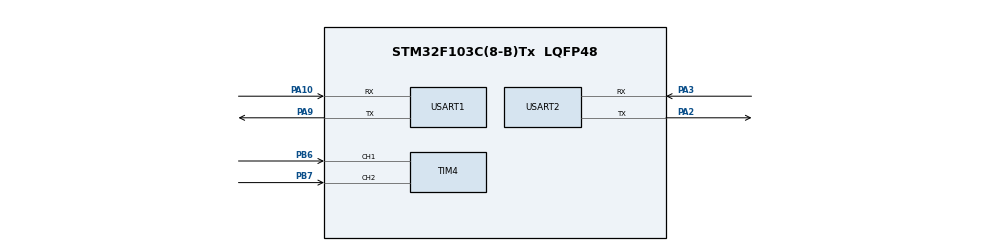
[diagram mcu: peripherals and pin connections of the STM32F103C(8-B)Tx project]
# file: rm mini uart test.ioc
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Mcu.Family=STM32F1
Mcu.Name=STM32F103C(8-B)Tx
Mcu.Package=LQFP48
NVIC.PriorityGroup=NVIC_PRIORITYGROUP_4
NVIC.USART2_IRQn=true\:0\:0\:false\:false\:true\:true\:true\:true
PA10.Mode=Asynchronous
PA10.Signal=USART1_RX
PA13.Mode=Serial_Wire
PA13.Signal=SYS_JTMS-SWDIO
PA14.Mode=Serial_Wire
PA14.Signal=SYS_JTCK-SWCLK
PA2.Mode=Asynchronous
PA2.Signal=USART2_TX
PA3.Mode=Asynchronous
PA3.Signal=USART2_RX
PA9.Mode=Asynchronous
PA9.Signal=USART1_TX
PB6.Signal=S_TIM4_CH1
PB7.Signal=S_TIM4_CH2
ProjectManager.HeapSize=0x200
ProjectManager.StackSize=0x400
ProjectManager.TargetToolchain=MDK-ARM V5.32
RCC.APB1Freq_Value=8000000
RCC.APB2Freq_Value=8000000
SH.S_TIM4_CH1.0=TIM4_CH1,Encoder_Interface
SH.S_TIM4_CH2.0=TIM4_CH2,Encoder_Interface
TIM4.EncoderMode=TIM_ENCODERMODE_TI12
USART1.VirtualMode=VM_ASYNC
USART2.VirtualMode=VM_ASYNC
board=custom

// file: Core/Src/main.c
/* USER CODE BEGIN Header */
/**
  ******************************************************************************
  * @file           : main.c
  * @brief          : Main program body
  ******************************************************************************
  * @attention
  *
  * Copyright (c) 2026 STMicroelectronics.
  * All rights reserved.
  *
  * This software is licensed under terms that can be found in the LICENSE file
  * in the root directory of this software component.
  * If no LICENSE file comes with this software, it is provided AS-IS.
  *
  ******************************************************************************
  */
/* USER CODE END Header */
#include "main.h"

/* USER CODE BEGIN Includes */
#include "stdio.h"
#include <stdlib.h>
#include <string.h>
/* USER CODE END Includes */

/* USER CODE BEGIN PTD */
typedef struct
{
    float Errorintegral;
    float LastError;
    uint8_t hasLastError;
    float OUT;
} WheelPidState;
/* USER CODE END PTD */

TIM_HandleTypeDef htim4;

UART_HandleTypeDef huart1;
UART_HandleTypeDef huart2;

/* USER CODE BEGIN PV */

static volatile uint16_t nowm1EncoderCount = 0U;
static volatile int32_t m1DeltaCount = 0;
static volatile float m1Rpm = 0.0f;
static volatile float TargetRpm = 0.0f;
static volatile float Error = 0.0f;

static volatile float Kp = 1.0f;
static volatile float Ki = 0.7f;
static volatile float Kd = 0.0f;
static volatile float OUT = 0.0f;

static WheelPidState wheel1PIDState = {0};
/* USER CODE END PV */

void SystemClock_Config(void);
static void MX_GPIO_Init(void);
static void MX_USART1_UART_Init(void);
static void MX_USART2_UART_Init(void);
static void MX_TIM4_Init(void);

/* USER CODE BEGIN 0 */
static float WheelPidUpdate(WheelPidState *wheelxPIDState,float TargetRpm, float Error, uint32_t deltaMs)//第一个轮子状态结构体名称，x对应的是驱动板的motor几
{
    if (TargetRpm == 0.0f)
    {
        *wheelxPIDState = (WheelPidState){0};
        return 0.0f;
    }

    if (Ki <= 0.0f)
    {
        wheelxPIDState->Errorintegral = 0.0f;
    }

    else if ((wheelxPIDState->OUT < 200.0f || Error < 0.0f) &&(wheelxPIDState->OUT > -200.0f || Error > 0.0f))//条件积分，初步卡在正负200
    {
        wheelxPIDState->Errorintegral += Error * (deltaMs * 0.001f);
    }

    float Errorchangerate = 0.0f;

    if (wheelxPIDState->hasLastError != 0U)
    {
        Errorchangerate =(Error - wheelxPIDState->LastError) / (deltaMs * 0.001f);
    }

    wheelxPIDState->LastError = Error;
    wheelxPIDState->hasLastError = 1U;

    wheelxPIDState->OUT =Kp * Error + Ki * wheelxPIDState->Errorintegral + Kd * Errorchangerate;

    if (wheelxPIDState->OUT > 200.0f)
    {
        wheelxPIDState->OUT = 200.0f;
    }
    else if (wheelxPIDState->OUT < -200.0f)
    {
        wheelxPIDState->OUT = -200.0f;
    }

    return wheelxPIDState->OUT;
}

/* USER CODE END 0 */

int main(void)
{

  /* MCU Configuration--------------------------------------------------------*/

  /* Reset of all peripherals, Initializes the Flash interface and the Systick. */
  HAL_Init();

  /* Configure the system clock */
  SystemClock_Config();

  /* Initialize all configured peripherals */
  MX_GPIO_Init();
  MX_USART1_UART_Init();
  MX_USART2_UART_Init();
  MX_TIM4_Init();
  /* USER CODE BEGIN 2 */

  const uint8_t motorStopCommand[] = "$pwm:0,0,0,0#";
  HAL_UART_Transmit(&huart2, motorStopCommand, sizeof(motorStopCommand) - 1U, 20U);

  HAL_TIM_Encoder_Start(&htim4,TIM_CHANNEL_ALL);
  uint16_t previousM1Count = (uint16_t)__HAL_TIM_GET_COUNTER(&htim4);
  uint32_t previousSampleMs = HAL_GetTick();
  const float m1CountsPerWheel = 2464.0f;//轮子每圈转动产生cnt

  /* USER CODE END 2 */

  /* Infinite loop */
  /* USER CODE BEGIN WHILE */
  while (1)
  {
	nowm1EncoderCount = (uint16_t)__HAL_TIM_GET_COUNTER(&htim4);
	uint32_t currentSampleMs = HAL_GetTick();

	uint32_t deltaMs = currentSampleMs - previousSampleMs;

	if (deltaMs >= 100U)
	{
		//读cnt以及求转速，误差
		int32_t deltaCount = (uint16_t)(nowm1EncoderCount - previousM1Count);//直接换无符号了，下面-65536，常见处理cnt的突变

		if (deltaCount >= 32768)
		{
			deltaCount -= 65536;
		}
		m1DeltaCount = deltaCount;
		m1Rpm = deltaCount * 60000.0f / (m1CountsPerWheel * deltaMs);
		Error = TargetRpm - m1Rpm;

		//PID
		OUT = WheelPidUpdate(&wheel1PIDState, TargetRpm, Error, deltaMs);

		//发送
		char Outorder[24];
		int Outorderbyte = snprintf(Outorder, sizeof(Outorder),"$pwm:%d,0,0,0#", (int)OUT);

		if (Outorderbyte > 0 && Outorderbyte < (int)sizeof(Outorder))
		{
			HAL_UART_Transmit(&huart2, (const uint8_t *)Outorder,(uint16_t)Outorderbyte, 20U);
		}
		previousM1Count = nowm1EncoderCount;
		previousSampleMs = currentSampleMs;
	}

    /* USER CODE END WHILE */

  }
}

void SystemClock_Config(void)
{
  RCC_OscInitTypeDef RCC_OscInitStruct = {0};
  RCC_ClkInitTypeDef RCC_ClkInitStruct = {0};

  /** Initializes the RCC Oscillators according to the specified parameters
  * in the RCC_OscInitTypeDef structure.
  */
  RCC_OscInitStruct.OscillatorType = RCC_OSCILLATORTYPE_HSI;
  RCC_OscInitStruct.HSIState = RCC_HSI_ON;
  RCC_OscInitStruct.HSICalibrationValue = RCC_HSICALIBRATION_DEFAULT;
  RCC_OscInitStruct.PLL.PLLState = RCC_PLL_NONE;
  if (HAL_RCC_OscConfig(&RCC_OscInitStruct) != HAL_OK)
  {
    Error_Handler();
  }

  /** Initializes the CPU, AHB and APB buses clocks
  */
  RCC_ClkInitStruct.ClockType = RCC_CLOCKTYPE_HCLK|RCC_CLOCKTYPE_SYSCLK
                              |RCC_CLOCKTYPE_PCLK1|RCC_CLOCKTYPE_PCLK2;
  RCC_ClkInitStruct.SYSCLKSource = RCC_SYSCLKSOURCE_HSI;
  RCC_ClkInitStruct.AHBCLKDivider = RCC_SYSCLK_DIV1;
  RCC_ClkInitStruct.APB1CLKDivider = RCC_HCLK_DIV1;
  RCC_ClkInitStruct.APB2CLKDivider = RCC_HCLK_DIV1;

  if (HAL_RCC_ClockConfig(&RCC_ClkInitStruct, FLASH_LATENCY_0) != HAL_OK)
  {
    Error_Handler();
  }
}

static void MX_TIM4_Init(void)
{

  TIM_Encoder_InitTypeDef sConfig = {0};
  TIM_MasterConfigTypeDef sMasterConfig = {0};

  htim4.Instance = TIM4;
  htim4.Init.Prescaler = 0;
  htim4.Init.CounterMode = TIM_COUNTERMODE_UP;
  htim4.Init.Period = 65535;
  htim4.Init.ClockDivision = TIM_CLOCKDIVISION_DIV1;
  htim4.Init.AutoReloadPreload = TIM_AUTORELOAD_PRELOAD_DISABLE;
  sConfig.EncoderMode = TIM_ENCODERMODE_TI12;
  sConfig.IC1Polarity = TIM_ICPOLARITY_RISING;
  sConfig.IC1Selection = TIM_ICSELECTION_DIRECTTI;
  sConfig.IC1Prescaler = TIM_ICPSC_DIV1;
  sConfig.IC1Filter = 0;
  sConfig.IC2Polarity = TIM_ICPOLARITY_RISING;
  sConfig.IC2Selection = TIM_ICSELECTION_DIRECTTI;
  sConfig.IC2Prescaler = TIM_ICPSC_DIV1;
  sConfig.IC2Filter = 0;
  if (HAL_TIM_Encoder_Init(&htim4, &sConfig) != HAL_OK)
  {
    Error_Handler();
  }
  sMasterConfig.MasterOutputTrigger = TIM_TRGO_RESET;
  sMasterConfig.MasterSlaveMode = TIM_MASTERSLAVEMODE_DISABLE;
  if (HAL_TIMEx_MasterConfigSynchronization(&htim4, &sMasterConfig) != HAL_OK)
  {
    Error_Handler();
  }

}

static void MX_USART1_UART_Init(void)
{

  huart1.Instance = USART1;
  huart1.Init.BaudRate = 115200;
  huart1.Init.WordLength = UART_WORDLENGTH_8B;
  huart1.Init.StopBits = UART_STOPBITS_1;
  huart1.Init.Parity = UART_PARITY_NONE;
  huart1.Init.Mode = UART_MODE_TX_RX;
  huart1.Init.HwFlowCtl = UART_HWCONTROL_NONE;
  huart1.Init.OverSampling = UART_OVERSAMPLING_16;
  if (HAL_UART_Init(&huart1) != HAL_OK)
  {
    Error_Handler();
  }

}

static void MX_USART2_UART_Init(void)
{

  huart2.Instance = USART2;
  huart2.Init.BaudRate = 115200;
  huart2.Init.WordLength = UART_WORDLENGTH_8B;
  huart2.Init.StopBits = UART_STOPBITS_1;
  huart2.Init.Parity = UART_PARITY_NONE;
  huart2.Init.Mode = UART_MODE_TX_RX;
  huart2.Init.HwFlowCtl = UART_HWCONTROL_NONE;
  huart2.Init.OverSampling = UART_OVERSAMPLING_16;
  if (HAL_UART_Init(&huart2) != HAL_OK)
  {
    Error_Handler();
  }

}

static void MX_GPIO_Init(void)
{

  /* GPIO Ports Clock Enable */
  __HAL_RCC_GPIOA_CLK_ENABLE();
  __HAL_RCC_GPIOB_CLK_ENABLE();

}

void Error_Handler(void)
{
  __disable_irq();
  while (1)
  {
  }
}
